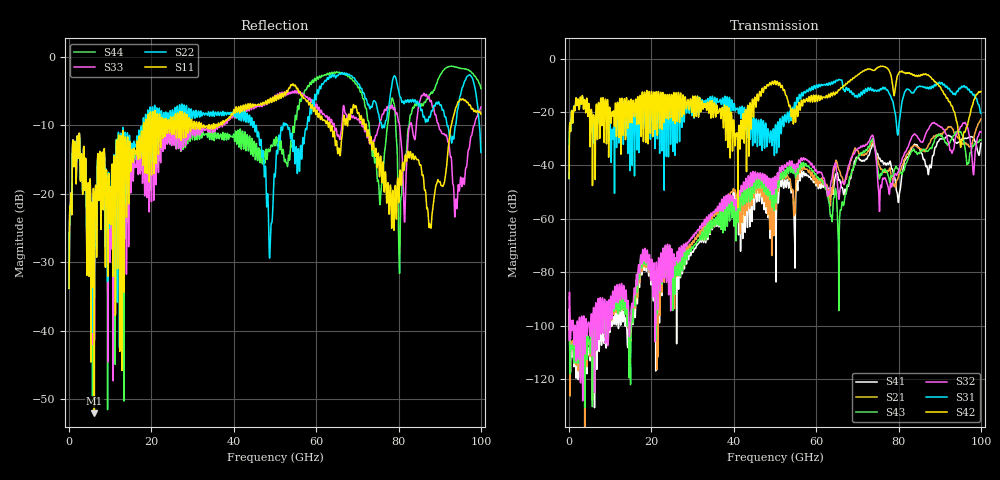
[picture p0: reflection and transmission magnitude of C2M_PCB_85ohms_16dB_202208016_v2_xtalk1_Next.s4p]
! Info: Touchstone file created by Circ.  Input file=Intel_C2M_200G_5p0in_202208016_staggered.circ
# Hz S RI R 50
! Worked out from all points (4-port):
!   10000 points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, 10 MHz to 100 GHz, reference 50 ohm
!   strongest paths, dB at 10 MHz, 25.01 GHz, 50.01 GHz, 75.01 GHz, 100 GHz:
!     S42: -44.9, -14.7, -8.3, -3.2, -12.3
!     S31: -45.0, -17.1, -26.7, -11.7, -20.5
!     S32: -105.5, -72.8, -44.2, -47.2, -27.5
!     S43: -95.0, -73.6, -47.9, -41.6, -30.5
!     S21: -94.6, -75.0, -48.4, -38.2, -22.6
!     S41: -93.9, -74.0, -53.2, -36.1, -31.7
!   lowest |S11| = -52.1 dB at 6.13 GHz (marker M1), VSWR 1.00, Z = 50.2 - j0.0823 ohm
!   |S11| at or under -10 dB: start of sweep to 18.06 GHz; 63.36 GHz to 66.48 GHz (3.121 GHz wide, 4.81 % of centre); 72.17 GHz to 92.83 GHz (20.66 GHz wide, 25 % of centre)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
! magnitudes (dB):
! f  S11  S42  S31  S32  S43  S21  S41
! 10 MHz  -33.8  -44.9  -45.0  -105.5  -95.0  -94.6  -93.9
! 6.13 GHz  -52.1  -22.6  -25.0  -101.4  -104.9  -108.1  -112.4
! 65.61 GHz  -13.6  -11.8  -7.8  -52.1  -64.7  -41.9  -45.5
! 73.47 GHz  -12.9  -4.1  -11.9  -29.0  -30.8  -31.8  -33.3
! 75.97 GHz  -18.4  -2.9  -11.4  -47.0  -43.0  -41.4  -38.3
! 95.21 GHz  -6.3  -31.9  -10.6  -25.4  -27.8  -30.9  -30.3
! 100 GHz  -8.4  -12.3  -20.5  -27.5  -30.5  -22.6  -31.7
